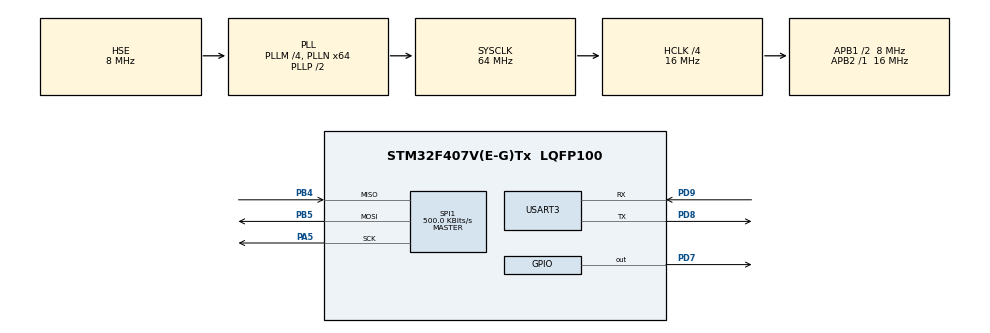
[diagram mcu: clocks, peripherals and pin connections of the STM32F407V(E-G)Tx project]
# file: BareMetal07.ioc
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Mcu.Family=STM32F4
Mcu.Name=STM32F407V(E-G)Tx
Mcu.Package=LQFP100
NVIC.PriorityGroup=NVIC_PRIORITYGROUP_4
PA13.Mode=Serial_Wire
PA13.Signal=SYS_JTMS-SWDIO
PA14.Mode=Serial_Wire
PA14.Signal=SYS_JTCK-SWCLK
PA5.Mode=Full_Duplex_Master
PA5.Signal=SPI1_SCK
PB4.Mode=Full_Duplex_Master
PB4.Signal=SPI1_MISO
PB5.Mode=Full_Duplex_Master
PB5.Signal=SPI1_MOSI
PD7.GPIO_Speed=GPIO_SPEED_FREQ_VERY_HIGH
PD7.Signal=GPIO_Output
PD8.Mode=Asynchronous
PD8.Signal=USART3_TX
PD9.Mode=Asynchronous
PD9.Signal=USART3_RX
PH0-OSC_IN.Mode=HSE-External-Oscillator
PH0-OSC_IN.Signal=RCC_OSC_IN
PH1-OSC_OUT.Mode=HSE-External-Oscillator
PH1-OSC_OUT.Signal=RCC_OSC_OUT
ProjectManager.HeapSize=0x200
ProjectManager.StackSize=0x400
ProjectManager.TargetToolchain=STM32CubeIDE
RCC.48MHZClocksFreq_Value=32000000
RCC.AHBCLKDivider=RCC_SYSCLK_DIV4
RCC.AHBFreq_Value=16000000
RCC.APB1CLKDivider=RCC_HCLK_DIV2
RCC.APB1Freq_Value=8000000
RCC.APB1TimFreq_Value=16000000
RCC.APB2Freq_Value=16000000
RCC.APB2TimFreq_Value=16000000
RCC.CortexFreq_Value=16000000
RCC.HCLKFreq_Value=16000000
RCC.HSE_VALUE=8000000
RCC.HSI_VALUE=16000000
RCC.LSE_VALUE=32768
RCC.PLLM=4
RCC.PLLN=64
RCC.PLLSourceVirtual=RCC_PLLSOURCE_HSE
RCC.SYSCLKFreq_VALUE=64000000
RCC.SYSCLKSource=RCC_SYSCLKSOURCE_PLLCLK
RCC.VCOOutputFreq_Value=128000000
SPI1.BaudRatePrescaler=SPI_BAUDRATEPRESCALER_32
SPI1.CalculateBaudRate=500.0 KBits/s
SPI1.Direction=SPI_DIRECTION_2LINES
SPI1.Mode=SPI_MODE_MASTER
SPI1.VirtualType=VM_MASTER
USART3.VirtualMode=VM_ASYNC
board=custom

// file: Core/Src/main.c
/* USER CODE BEGIN Header */
/**
 ******************************************************************************
 * @file           : main.c
 * @brief          : Main program body
 ******************************************************************************
 * @attention
 *
 * Copyright (c) 2023 STMicroelectronics.
 * All rights reserved.
 *
 * This software is licensed under terms that can be found in the LICENSE file
 * in the root directory of this software component.
 * If no LICENSE file comes with this software, it is provided AS-IS.
 *
 ******************************************************************************
 */
/* USER CODE END Header */
#include "main.h"
#include "spi.h"
#include "usart.h"
#include "gpio.h"

/* USER CODE BEGIN Includes */
#define BUF_SIZE (64) // uart write buffer size
#include "spi_flash.h"

void Process_Command(char *command);
#define buffsize 128   // uart3 input buffer size
#define CMD_SIZE (128) // process_command bufer

char cmd[CMD_SIZE] = {0};
uint8_t tx_buf[BUF_SIZE] = {0};
uint8_t icmd = 0;
uint8_t rx;
/* USER CODE END Includes */

void SystemClock_Config(void);

int main(void)
{

    /* MCU Configuration--------------------------------------------------------*/

    /* Reset of all peripherals, Initializes the Flash interface and the Systick. */
    HAL_Init();

    /* Configure the system clock */
    SystemClock_Config();

    /* Initialize all configured peripherals */
    MX_GPIO_Init();
    MX_SPI1_Init();
    MX_USART3_UART_Init();
    /* USER CODE BEGIN 2 */
    if (flash_init(&hspi1) != 1)
    {
    	snprintf((char *)tx_buf, BUF_SIZE, "init spi flash ERROR:\r\n");
    	    HAL_UART_Transmit(&huart3, tx_buf, strlen((char *)tx_buf), 100);
        Error_Handler();
    }

    block_register(none);

    snprintf((char *)tx_buf, BUF_SIZE, "init spi flash OK:\r\n"
                                       "comand:\r\n"
                                       "read, erase, write");
    HAL_UART_Transmit(&huart3, tx_buf, strlen((char *)tx_buf), 100);
    /* USER CODE END 2 */

    /* Infinite loop */
    /* USER CODE BEGIN WHILE */
    while (1)
    {

        if (HAL_UART_Receive(&huart3, &rx, 1, 10) == HAL_OK)
        {

            do
            {
                cmd[icmd++] = rx;
            } while (HAL_UART_Receive(&huart3, &rx, 1, 10) == HAL_OK && rx != '\n');
            icmd = 0;
            Process_Command(cmd);
        }
        /* USER CODE END WHILE */

    }
}

void SystemClock_Config(void)
{
    RCC_OscInitTypeDef RCC_OscInitStruct = {0};
    RCC_ClkInitTypeDef RCC_ClkInitStruct = {0};

    /** Configure the main internal regulator output voltage
     */
    __HAL_RCC_PWR_CLK_ENABLE();
    __HAL_PWR_VOLTAGESCALING_CONFIG(PWR_REGULATOR_VOLTAGE_SCALE1);

    /** Initializes the RCC Oscillators according to the specified parameters
     * in the RCC_OscInitTypeDef structure.
     */
    RCC_OscInitStruct.OscillatorType = RCC_OSCILLATORTYPE_HSE;
    RCC_OscInitStruct.HSEState = RCC_HSE_ON;
    RCC_OscInitStruct.PLL.PLLState = RCC_PLL_ON;
    RCC_OscInitStruct.PLL.PLLSource = RCC_PLLSOURCE_HSE;
    RCC_OscInitStruct.PLL.PLLM = 4;
    RCC_OscInitStruct.PLL.PLLN = 64;
    RCC_OscInitStruct.PLL.PLLP = RCC_PLLP_DIV2;
    RCC_OscInitStruct.PLL.PLLQ = 4;
    if (HAL_RCC_OscConfig(&RCC_OscInitStruct) != HAL_OK)
    {
        Error_Handler();
    }

    /** Initializes the CPU, AHB and APB buses clocks
     */
    RCC_ClkInitStruct.ClockType = RCC_CLOCKTYPE_HCLK | RCC_CLOCKTYPE_SYSCLK | RCC_CLOCKTYPE_PCLK1 | RCC_CLOCKTYPE_PCLK2;
    RCC_ClkInitStruct.SYSCLKSource = RCC_SYSCLKSOURCE_PLLCLK;
    RCC_ClkInitStruct.AHBCLKDivider = RCC_SYSCLK_DIV4;
    RCC_ClkInitStruct.APB1CLKDivider = RCC_HCLK_DIV2;
    RCC_ClkInitStruct.APB2CLKDivider = RCC_HCLK_DIV1;

    if (HAL_RCC_ClockConfig(&RCC_ClkInitStruct, FLASH_LATENCY_0) != HAL_OK)
    {
        Error_Handler();
    }
}

/* USER CODE BEGIN 4 */

void Process_Command(char *command)
{

	char cmd[64];

	uint8_t parsed = sscanf(command, "%63s", cmd);

    if (parsed == 2 || parsed == 1)
    {
        if (strcmp(cmd, "read") == 0)
        {
            for (uint32_t ptr = 0; ptr <= 0x1FFFF;)
            {
                flash_read(ptr, tx_buf);
                HAL_UART_Transmit(&huart3, tx_buf, 5, 100);

/*                if ((ptr & 0x1F) == 0x1F)			//manualy print \r\n
                {
                    HAL_UART_Transmit(&huart3, (uint8_t *)"\r\n", 2, 100);
                }*/
                ptr = ptr + 5;
            }
            snprintf((char *)tx_buf, BUF_SIZE, "read finish\r\n");
        }

        else if (strcmp(cmd, "erase") == 0)
        {
            flash_erase();
            snprintf((char *)tx_buf, BUF_SIZE, "erase OK\r\n");
        }

        else if (strcmp(cmd, "write") == 0)
        {
		#define BUF_S 2000
            uint8_t Tx_buf[BUF_S] = {0};
            snprintf((char *)Tx_buf, BUF_S,
                     "TIME CAPSULE\n"
                     "From: Mykhailo Svyrskyi Telegram: @soldermen\n"
                     "Mentor Artem Dovhal\n"
                     "Date: 16.03.2023\n"
                     "Wer zu Lebzeit gut auf Erden\n"
                     "wird nach dem Tod ein Engel werden\n"
                     "den Blick gen Himmel fragst du dann\n"
                     "warum man sie nicht sehen kann\n"
                     "Erst wenn die Wolken schlafengehn\n"
                     "kann man uns am Himmel sehn\n"
                     "wir haben Angst und sind allein\n"
                     "Gott weiss ich will kein Engel sein\n"
                     "Sie leben hinterm Sonnenschein\n"
                     "getrennt von uns unendlich weit\n"
                     "sie mussen sich an Sterne krallen (ganz fest)\n"
                     "damit sie nicht vom Himmel fallen");
            Tx_buf, strlen((char *)Tx_buf);

            for (uint32_t ptr = 0, ptr1 = 0, flcount = 0; ptr < strlen((char *)Tx_buf); ptr++, ptr1++)
            {

                flash_byte_write((uint8_t *)Tx_buf[ptr], ptr1 + flcount);
                // HAL_Delay(1);
                if (Tx_buf[ptr] == '\n')
                {
                    ptr1 = 0;
                    flcount = flcount + 4096;
                }
            }
            snprintf((char *)tx_buf, BUF_SIZE, "write finish\r\n");
        }
        else if (strcmp(cmd, "block") == 0){
        block_register(all);
        snprintf((char *)tx_buf, BUF_SIZE, "memory locked\r\n");
        }
        else
        {
            snprintf((char *)tx_buf, BUF_SIZE, "command unknown\r\n");
        }
    }

    HAL_UART_Transmit(&huart3, tx_buf, strlen((char *)tx_buf), 100);

}
/* USER CODE END 4 */

void Error_Handler(void)
{
    __disable_irq();
    while (1)
    {
    }
}
